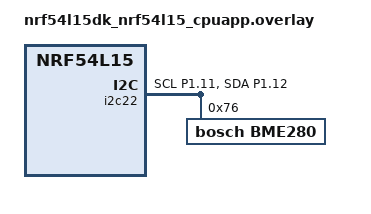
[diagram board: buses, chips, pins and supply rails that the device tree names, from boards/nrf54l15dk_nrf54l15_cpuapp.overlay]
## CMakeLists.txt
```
# SPDX-License-Identifier: Apache-2.0

cmake_minimum_required(VERSION 3.20.0)
find_package(Zephyr REQUIRED HINTS $ENV{ZEPHYR_BASE})
project(tempsound)

FILE(GLOB app_sources src/*.c)
target_sources(app PRIVATE ${app_sources})
```

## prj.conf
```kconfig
CONFIG_SENSOR=y
CONFIG_SENSOR_ASYNC_API=y
CONFIG_I2C=y

CONFIG_LOG=y


CONFIG_FPU=y

# Nordic buttons and leds lib
CONFIG_DK_LIBRARY=y
CONFIG_BT_LBS=y
CONFIG_BT_GATT_CLIENT=y


#bluetooth stuff
CONFIG_BT=y
CONFIG_BT_DEVICE_NAME="tempsound"
CONFIG_BT_PERIPHERAL=y
#changing connection params here for tutorial sake
CONFIG_BT_PERIPHERAL_PREF_MIN_INT=800
CONFIG_BT_PERIPHERAL_PREF_MAX_INT=800
CONFIG_BT_PERIPHERAL_PREF_LATENCY=0
CONFIG_BT_PERIPHERAL_PREF_TIMEOUT=400
CONFIG_BT_GAP_AUTO_UPDATE_CONN_PARAMS=y
#adding the ability to update phy as a user
CONFIG_BT_USER_PHY_UPDATE=y

#data length extention kconfig things
CONFIG_BT_USER_DATA_LEN_UPDATE=y
CONFIG_BT_CTLR_DATA_LENGTH_MAX=251
CONFIG_BT_BUF_ACL_RX_SIZE=251
CONFIG_BT_BUF_ACL_TX_SIZE=251
CONFIG_BT_L2CAP_TX_MTU=247


# Increase stack size for the main thread and System Workqueue
# Again this is just Nordic tutorial boilerplate TODO: Check what stack size is needed once implemented.
CONFIG_SYSTEM_WORKQUEUE_STACK_SIZE=2048
CONFIG_MAIN_STACK_SIZE=2048
CONFIG_BT_RX_STACK_SIZE=2048
CONFIG_BT_BUF_CMD_TX_COUNT=2
```

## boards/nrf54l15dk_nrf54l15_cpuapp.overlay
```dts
&i2c22 {
    status = "okay";
    pinctrl-0 = <&i2c22_default>;
	  pinctrl-1 = <&i2c22_sleep>;
    pinctrl-names = "default", "sleep";
    bme280: bme280@76 {
		compatible = "bosch,bme280";
        status = "okay";
        reg = < 0x76 >;
    };
};

&pinctrl {
    /omit-if-no-ref/ i2c22_default: i2c22_default {
		group1  {
			psels = <NRF_PSEL(TWIM_SCL, 1, 11)>,
					<NRF_PSEL(TWIM_SDA, 1, 12)>;
		};
	};

	/omit-if-no-ref/ i2c22_sleep: i2c22_sleep {
		group1  {
			psels = <NRF_PSEL(TWIM_SCL, 1, 11)>,
					<NRF_PSEL(TWIM_SDA, 1, 12)>;
			low-power-enable;
		};
	};
};
```

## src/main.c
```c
/*
 * Copyright (c) 2012-2014 Wind River Systems, Inc.
 * Copyright (c) 2021 Nordic Semiconductor ASA
 *
 * SPDX-License-Identifier: Apache-2.0
 */

 //general zephyr includes
#include <zephyr/kernel.h>
#include <zephyr/device.h>
#include <zephyr/devicetree.h>
#include <zephyr/drivers/sensor.h>
#include <zephyr/drivers/sensor_data_types.h>
#include <zephyr/rtio/rtio.h>


// logging and printing includes
#include <zephyr/dsp/print_format.h>
#include <zephyr/logging/log.h>


// bluetooth includes
#include <zephyr/bluetooth/bluetooth.h>
#include <zephyr/bluetooth/conn.h>
#include <zephyr/bluetooth/gap.h>
#include <zephyr/bluetooth/gatt.h>
#include <zephyr/bluetooth/uuid.h>
#include <zephyr/bluetooth/addr.h>

//nordic buttons and leds for testing 
#include <dk_buttons_and_leds.h>
#include <bluetooth/services/lbs.h>
#define USER_BUTTON DK_BTN1_MSK
#define RUN_STATUS_LED DK_LED1
#define CONNECTION_STATUS_LED DK_LED2
#define RUN_LED_BLINK_INTERVAL 1000

//company code is Nordic for now
#define COMPANY_CODE 0x0059

typedef struct adv_mfg_data {
	uint16_t company_code;
	uint16_t number_press;
} adv_mfg_data_type;

// dummy url data
static unsigned char url_data[] = { 0x17, '/', '/', 'x', 'k', 'c', 'd', '.', 'c',
				    'o',  'm' };

static struct k_work adv_work;
struct bt_conn *my_conn = NULL;

static struct bt_gatt_exchange_params exchange_params;
static void exchange_func(struct bt_conn *conn, uint8_t att_err, struct bt_gatt_exchange_params *params);

static const struct bt_le_adv_param *adv_param = 
	BT_LE_ADV_PARAM((BT_LE_ADV_OPT_CONN | BT_LE_ADV_OPT_USE_IDENTITY), // advertisin options
		800, //min advertisins interval 500ms (800 *0.625)
		801, //max adv time 500.625ms (801 *0.625)
		NULL // undirected advertising
	);

static adv_mfg_data_type adv_mfg_data = { COMPANY_CODE, 0x00 };


LOG_MODULE_REGISTER(tempsound_logger, LOG_LEVEL_INF);

#define DEVICE_NAME CONFIG_BT_DEVICE_NAME
#define DEVICE_NAME_LEN (sizeof(DEVICE_NAME) -1 )

static const struct bt_data ad[] = {
	//advertising flags
	BT_DATA_BYTES(BT_DATA_FLAGS, (BT_LE_AD_GENERAL | BT_LE_AD_NO_BREDR)),
	//advertising packet data
	BT_DATA(BT_DATA_NAME_COMPLETE, DEVICE_NAME, DEVICE_NAME_LEN),
	//manufacturer data 
	BT_DATA(BT_DATA_MANUFACTURER_DATA, (unsigned char*) &adv_mfg_data, sizeof(adv_mfg_data)),
};

static const struct bt_data sd[] ={
	//scan response packet - dummy url
	BT_DATA(BT_DATA_URI, url_data,sizeof(url_data)),

	// uuid of lbs service : https://docs.nordicsemi.com/bundle/ncs-latest/page/nrf/libraries/bluetooth/services/lbs.html#service-uuid
	BT_DATA_BYTES(BT_DATA_UUID128_ALL, BT_UUID_128_ENCODE(0x00001523, 0x1212, 0xefde, 0x1523, 0x785feabcd123)),

};	



static void adv_work_handler(struct k_work *work)
{
	int err = bt_le_adv_start(adv_param, ad, ARRAY_SIZE(ad), sd, ARRAY_SIZE(sd));

	if (err) {
		printk("Advertising failed to start (err %d)\n", err);
		return;
	}

	printk("Advertising successfully started\n");
}
static void advertising_start(void)
{
	k_work_submit(&adv_work);
}

static void update_phy(struct bt_conn *conn){
	int err;
	const struct bt_conn_le_phy_param preferred_phy = {
		.options = BT_CONN_LE_PHY_OPT_NONE,
		.pref_rx_phy = BT_GAP_LE_PHY_2M,
		.pref_tx_phy = BT_GAP_LE_PHY_2M,
	};

	err = bt_conn_le_phy_update(conn, &preferred_phy);
	if(err){
		LOG_ERR("could not update phy err: %d", err);
		//return; why do none of these have returns?
	}
}

static void update_data_length(struct bt_conn *conn){
	int err;
	struct bt_conn_le_data_len_param my_data_len = {
		.tx_max_len = BT_GAP_DATA_LEN_MAX,
		.tx_max_time = BT_GAP_DATA_TIME_MAX,
	};

	err = bt_conn_le_data_len_update(conn, &my_data_len); //  tut put my_conn here but that makes no sense?
	if (err) {
        LOG_ERR("data_len_update failed (err %d)", err);
    }
}

static void update_mtu(struct bt_conn *conn){
	int err;
	exchange_params.func = exchange_func;

	err = bt_gatt_exchange_mtu(conn, &exchange_params);
	if(err){
		LOG_ERR("bt_gat_exchange_mtu failed because: %d", err);
	}
}

void on_connected(struct bt_conn *conn, uint8_t err){
	if(err){
		LOG_ERR("connection error, on_connected, err: %d", err);
		return;
	}
	LOG_INF("Connected");
	my_conn = bt_conn_ref(conn);

	dk_set_led(CONNECTION_STATUS_LED, 1);


	// this delay was in the sample code without explanation.
	//presumably it's just one of those machine need a sec things
	k_sleep(K_MSEC(100)); 

	//getting the connection info:
	struct bt_conn_info info;
	err = bt_conn_get_info(conn, &info);
	if(err){
		LOG_ERR("Cannot get connection info err: %d", err);
		return;
	}
	double conn_interval = info.le.interval *1.25; //in ms - note in 3.2.x this is depreciated and BT_GAP_US_TO_CONN_INTERVAL(info.le.interval_us) * 1.25; this replaces it
	uint16_t supervision_timeout = info.le.timeout*10;
	LOG_INF("connection params: interval %.2f ms, latenct %d intervals, timeout %d ms", conn_interval, info.le.latency, supervision_timeout);
	update_phy(my_conn);
	k_sleep(K_MSEC(1000));  // Delay added to avoid link layer collisions.
	update_data_length(my_conn);
	update_mtu(my_conn);

}

void on_disconnected(struct bt_conn *conn, uint8_t reason){
	
	LOG_INF("Disconnected because %d", reason);
	bt_conn_unref(my_conn);
	dk_set_led(CONNECTION_STATUS_LED, 0);

}


static void recycled_cb(void)
{
	printk("Connection object available from previous conn. Disconnect is complete!\n");
	advertising_start();
}

void on_le_param_updated(struct bt_conn *conn, uint16_t interval, uint16_t latency, uint16_t timeout){
	double connection_interval = interval*1.25;         // in ms
    uint16_t supervision_timeout = timeout*10;          // in ms
    LOG_INF("Connection parameters updated: interval %.2f ms, latency %d intervals, timeout %d ms", connection_interval, latency, supervision_timeout);
}

void on_le_phy_updated(struct bt_conn *conn, struct bt_conn_le_phy_info *param){
	//literally copied from tutorial code as my hands are frozen
	// PHY Updated
    if (param->tx_phy == BT_CONN_LE_TX_POWER_PHY_1M) {
        LOG_INF("PHY updated. New PHY: 1M");
    }
    else if (param->tx_phy == BT_CONN_LE_TX_POWER_PHY_2M) {
        LOG_INF("PHY updated. New PHY: 2M");
    }
    else if (param->tx_phy == BT_CONN_LE_TX_POWER_PHY_CODED_S8) {
        LOG_INF("PHY updated. New PHY: Long Range");
    }

}

void on_le_data_len_updated(struct bt_conn *conn, struct bt_conn_le_data_len_info *info){
	uint16_t tx_len     = info->tx_max_len; 
    uint16_t tx_time    = info->tx_max_time;
    uint16_t rx_len     = info->rx_max_len;
    uint16_t rx_time    = info->rx_max_time;
    LOG_INF("Data length updated. Length %d/%d bytes, time %d/%d us", tx_len, rx_len, tx_time, rx_time);
}


// These two things are the same. The difference is
// that here we are manually making the bt_conn_cb struct
// then registering them in main. The BT_CONN_CB_DEFINE macro
// will do both in one swipe. TODO: this.


// BT_CONN_CB_DEFINE(conn_callbacks) = {
// 	.recycled = recycled_cb,
// };

struct bt_conn_cb connection_callbacks = {
	.connected = on_connected,
	.disconnected = on_disconnected,
	.recycled = recycled_cb,
	.le_param_updated = on_le_param_updated,
	.le_phy_updated = on_le_phy_updated,
	.le_data_len_updated = on_le_data_len_updated,
};

static void exchange_func(struct bt_conn *conn, uint8_t att_err,
			  struct bt_gatt_exchange_params *params)
{
	LOG_INF("MTU exchange %s", att_err == 0 ? "successful" : "failed");
    if (!att_err) {
        uint16_t payload_mtu = bt_gatt_get_mtu(conn) - 3;   // 3 bytes used for Attribute headers.
        LOG_INF("New MTU: %d bytes", payload_mtu);
    }
}


		

static void button_changed(uint32_t button_state, uint32_t has_changed){

	// check for presses
	if (has_changed & button_state & USER_BUTTON){
		adv_mfg_data.number_press += 1;
		bt_le_adv_update_data(ad, ARRAY_SIZE(ad), sd, ARRAY_SIZE(sd));
	}

	// check if pressed or released
	// this is the bare bones code from the nordic tutorial, no checking if notifications have been
	//selected or anything like that.
	int err;
	bool user_button_changed = (has_changed & USER_BUTTON) ? true : false;
	bool user_button_pressed = (button_state & USER_BUTTON) ? true : false;
	if (user_button_changed) {
		LOG_INF("Button %s", (user_button_pressed ? "pressed" : "released"));

		err = bt_lbs_send_button_state(user_button_pressed);
		if (err) {
			LOG_ERR("Couldn't send notification. (err: %d)", err);
		}
	}
}

static int init_button(void)
{
	int err;

	err = dk_buttons_init(button_changed);
	if (err) {
		printk("Cannot init buttons (err: %d)\n", err);
	}

	return err;
}

/*
 * Get a device structure from a devicetree node with compatible
 * "bosch,bme280". (If there are multiple, just pick one.)
 */
const struct device *const dev = DEVICE_DT_GET_ANY(bosch_bme280);

SENSOR_DT_READ_IODEV(iodev, DT_COMPAT_GET_ANY_STATUS_OKAY(bosch_bme280),
		{SENSOR_CHAN_AMBIENT_TEMP, 0},
		{SENSOR_CHAN_HUMIDITY, 0},
		{SENSOR_CHAN_PRESS, 0});

RTIO_DEFINE(ctx, 1, 1);

static const struct device *check_bme280_device(void)
{
	if (dev == NULL) {
		/* No such node, or the node does not have status "okay". */
		printk("\nError: no device found.\n");
		return NULL;
	}

	if (!device_is_ready(dev)) {
		printk("\nError: Device \"%s\" is not ready; "
		       "check the driver initialization logs for errors.\n",
		       dev->name);
		return NULL;
	}

	printk("Found device \"%s\", getting sensor data\n", dev->name);
	return dev;
}

int main(void)
{
	int err;


	//nordic button and led setup tings
	err = dk_leds_init();
	if (err) {
		LOG_ERR("LEDs init failed (err %d)\n", err);
		return -1;
	}
	err = init_button();
	if (err) {
		printk("Button init failed (err %d)\n", err);
		return -1;
	}

	// set static address
    bt_addr_le_t addr;

	err = bt_addr_le_from_str("FF:EE:DD:CC:BB:AA", "random", &addr);
	if (err) {
        printk("Invalid BT address (err %d)\n", err);
    }

    err = bt_id_create(&addr, NULL);
    if (err < 0) {
        printk("Creating new ID failed (err %d)\n", err);
    }

	err = bt_conn_cb_register(&connection_callbacks);
	if(err){
		LOG_ERR("connection callback registration failed: %d", err);
	}


	//enable bluetooth
	err = bt_enable(NULL);
	if(err){
		LOG_ERR("Couldnt start bluetooth error: %d", err);
		return -1;
	}
	LOG_INF("Bluetooth Started");

	// err = bt_le_adv_start(BT_LE_ADV_NCONN, ad, ARRAY_SIZE(ad), sd, ARRAY_SIZE(sd));
	// if(err){
	// 	LOG_ERR("advertising did not start- error: %d", err);
	// 	return -1;
	// }

	k_work_init(&adv_work, adv_work_handler);
	advertising_start();

	LOG_INF("Advertising Started");


		// cheking bme device is all the things
	const struct device *dev = check_bme280_device();
	if (dev == NULL) {
		return 0;
	}

	while (1) {
		uint8_t buf[128];

		int rc = sensor_read(&iodev, &ctx, buf, 128);

		if (rc != 0) {
			printk("%s: sensor_read() failed: %d\n", dev->name, rc);
			return rc;
		}

		const struct sensor_decoder_api *decoder;

		rc = sensor_get_decoder(dev, &decoder);

		if (rc != 0) {
			printk("%s: sensor_get_decode() failed: %d\n", dev->name, rc);
			return rc;
		}

		uint32_t temp_fit = 0;
		struct sensor_q31_data temp_data = {0};

		decoder->decode(buf,
			(struct sensor_chan_spec) {SENSOR_CHAN_AMBIENT_TEMP, 0},
			&temp_fit, 1, &temp_data);

		uint32_t press_fit = 0;
		struct sensor_q31_data press_data = {0};

		decoder->decode(buf,
				(struct sensor_chan_spec) {SENSOR_CHAN_PRESS, 0},
				&press_fit, 1, &press_data);

		uint32_t hum_fit = 0;
		struct sensor_q31_data hum_data = {0};

		decoder->decode(buf,
				(struct sensor_chan_spec) {SENSOR_CHAN_HUMIDITY, 0},
				&hum_fit, 1, &hum_data);

		printk("temp: %s%d.%d; press: %s%d.%d; humidity: %s%d.%d\n",
			PRIq_arg(temp_data.readings[0].temperature, 6, temp_data.shift),
			PRIq_arg(press_data.readings[0].pressure, 6, press_data.shift),
			PRIq_arg(hum_data.readings[0].humidity, 6, hum_data.shift));

		k_sleep(K_MSEC(1000));
	}
	return 0;
}
```
